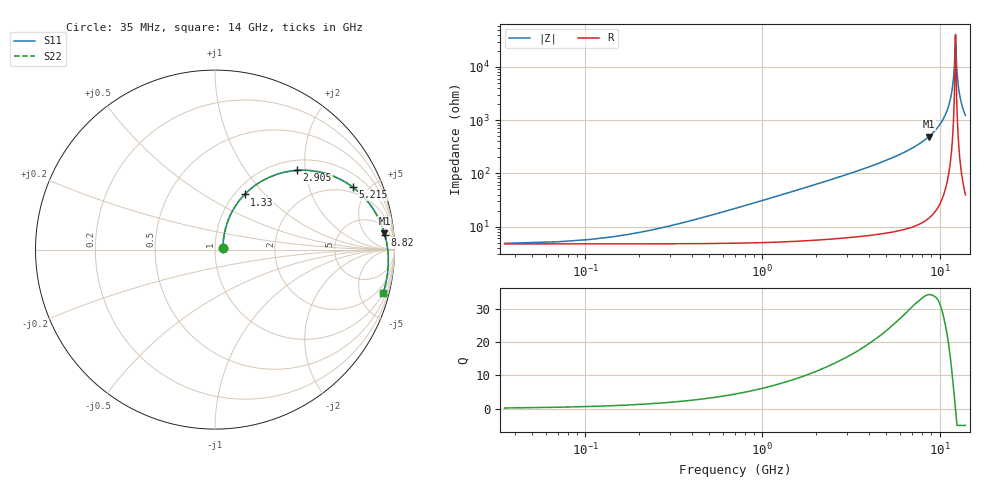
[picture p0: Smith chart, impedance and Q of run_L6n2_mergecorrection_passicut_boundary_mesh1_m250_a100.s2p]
#  Hz  S  RI  R  50
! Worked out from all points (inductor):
!   400 points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, 35 MHz to 14 GHz, reference 50 ohm
!   read as one part in series: L = 4.83 nH near 490 MHz
!   highest Q = 34.2 at 8.68 GHz (marker M1), where L = 8.9 nH
!   self-resonance near 12.29 GHz
!   S11 on the Smith chart (normalised r, x): 35 MHz: 1.09, +0.02; 1.33 GHz: 1.11, +0.78; 2.905 GHz: 1.22, +1.81; 5.215 GHz: 1.66, +3.98; 8.82 GHz: 10, +17; 14 GHz: 1.05, -7.76
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3.5e7  0.0441 0.00901  0.9539 -0.0104  0.9539 -0.0104  0.0441 0.009
5.95e8  0.0687 0.1507  0.9208 -0.1695  0.9208 -0.1695  0.0687 0.1507
1.33e9  0.165 0.3074  0.8152 -0.3322  0.8152 -0.3322  0.1649 0.3073
2.38e9  0.3607 0.4243  0.6162 -0.4592  0.6162 -0.4592  0.3607 0.4242
2.905e9  0.4578 0.4415  0.5181 -0.4813  0.5181 -0.4813  0.4578 0.4414
4.69e9  0.715 0.3824  0.2586 -0.4414  0.2586 -0.4414  0.7149 0.3823
5.215e9  0.7677 0.3479  0.2052 -0.4127  0.2052 -0.4127  0.7676 0.3478
7.035e9  0.8897 0.2131  0.0808 -0.2981  0.0808 -0.2981  0.8897 0.2129
8.68e9  0.9437 0.0916  0.0245 -0.1953  0.0245 -0.1953  0.9436 0.0914
8.82e9  0.9466 0.0816  0.0215 -0.187  0.0215 -0.187  0.9465 0.0814
9.345e9  0.9554 0.0447  0.0119 -0.1561  0.0119 -0.1561  0.9553 0.0445
1.0815e10  0.9658 -0.0534  -0.00105 -0.075  -0.00105 -0.075  0.9657 -0.0536
1.169e10  0.964 -0.1082  -0.000849 -0.0304  -0.000849 -0.0304  0.9638 -0.1084
1.2075e10  0.9616 -0.1315  0.000854 -0.0116  0.000855 -0.0116  0.9614 -0.1318
1.218e10  0.9607 -0.1378  0.00146 -0.00655  0.00146 -0.00655  0.9606 -0.1381
1.2285e10  0.9598 -0.1441  0.00213 -0.00156  0.00213 -0.00156  0.9597 -0.1443
1.232e10  0.9595 -0.1461  0.00237 9.5e-05  0.00237 9.41e-05  0.9594 -0.1464
1.2425e10  0.9585 -0.1523  0.00311 0.00504  0.00311 0.00504  0.9584 -0.1526
1.2495e10  0.9578 -0.1565  0.00365 0.00833  0.00365 0.00833  0.9577 -0.1567
1.2775e10  0.9548 -0.1727  0.00605 0.0213  0.00605 0.0213  0.9546 -0.1729
1.3265e10  0.9484 -0.2005  0.0114 0.0434  0.0114 0.0434  0.9483 -0.2007
1.4e10  0.9364 -0.2409  0.0216 0.075  0.0216 0.075  0.9363 -0.2411
